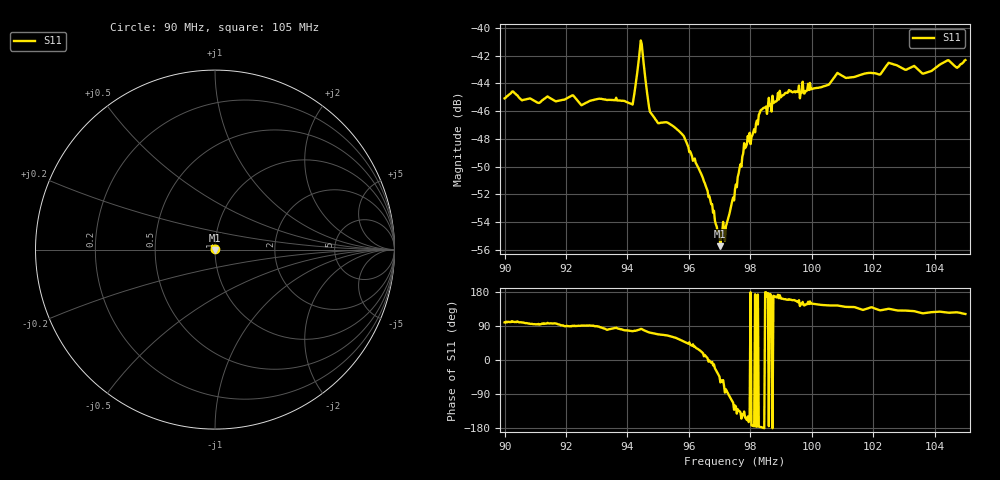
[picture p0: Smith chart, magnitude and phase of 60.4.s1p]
# HZ S RI R 50
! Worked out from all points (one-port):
!   505 points, 90 MHz to 105 MHz, reference 50 ohm
!   lowest |S11| = -55.7 dB at 97.02 MHz (marker M1), VSWR 1.00, Z = 50.1 - j0.14 ohm
!   |S11| at or under -10 dB: start of sweep to end of sweep
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9e7  -0.000904 0.00549
9.026786e7  -0.00114 0.00579
9.107143e7  -0.00038 0.00536
9.187501e7  -0.000109 0.00549
9.375001e7  0.000771 0.00542
9.416668e7  0.00127 0.00513
9.443454e7  0.00124 0.00892
9.449406e7  0.00138 0.00795
9.467263e7  0.00153 0.00525
9.476192e7  0.00155 0.00468
9.562502e7  0.00236 0.00358
9.639883e7  0.00275 0.00113
9.702383e7  0.000836 -0.0014
9.72024e7  0.000427 -0.00187
9.750002e7  -0.00131 -0.00227
9.785717e7  -0.00338 -0.00157
9.80655e7  -0.00408 -0.000467
9.833336e7  -0.00503 -0.000288
9.937503e7  -0.00542 0.00222
1.00506e8  -0.00505 0.00363
1.008334e8  -0.00556 0.00406
1.0125e8  -0.00507 0.00427
1.022024e8  -0.0045 0.00508
1.025298e8  -0.00526 0.0053
1.03125e8  -0.00458 0.00545
1.036608e8  -0.0038 0.00571
1.044048e8  -0.00438 0.00624
1.05e8  -0.00399 0.00653
